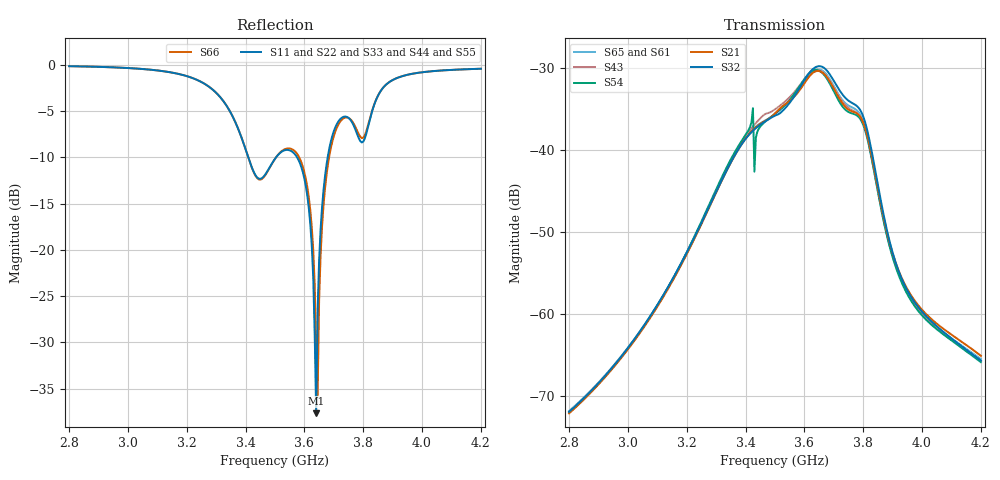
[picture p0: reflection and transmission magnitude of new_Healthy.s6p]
! Touchstone file exported from HFSS 2024.2.0
!  File:  D:/Jatin/new.aedt
!  Generated:  04:49:15 PM Sep 30, 2026
!  Design:  Healthy
!  Project:  new
!  Setup:  Setup1
!  Solution:  Sweep
! Variables:
!  $L = 85mm
!  $W = 35mm
!  H = 1.575mm
!  L = 42mm
!  W = 35mm
!  Wb = 6mm
!  a = 3.5mm
!  ant_dist = 115mm
!  ant_gap = 3mm
!  b = 5mm
!  c = 5mm
!  d = 2mm
!  g1 = 2mm
!  g2 = 2mm
!  g3 = 1mm
!  g4 = 2mm
!  gap = 10mm
!  r1 = 3.5mm
!  r2 = 6mm
!  r_brain = 95mm
!  r_brain_ad = 61.68mm
!  r_csf = 95.5mm
!  r_csf_expanded = 64.6mm
!  r_csf_inner = 61.68mm
!  r_csf_outer = 83.5mm
!  r_fat = 87.5mm
!  r_gray = 70.55mm
!  r_gray_healthy = 83mm
!  r_grey_healthy = 83mm
!  r_hippo_healthy = 25mm
!  r_skin = 88mm
!  r_skull = 86.5mm
!  r_white = 17.5mm
!  r_white_healthy = 76mm
!  slot_distance = 15mm
!  wc = 12mm
!  y1 = 15mm
!  y2 = 5mm
!  y4 = 11mm
!  z_ebg = -94.575mm
! Terminal data exported
! Port[1] = FEED_3_T4
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# GHz S MA R 50.000000
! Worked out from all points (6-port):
!   281 points, 2.8 GHz to 4.2 GHz, reference 50 ohm
!   strongest paths, dB at 2.8 GHz, 3.15 GHz, 3.5 GHz, 3.85 GHz, 4.2 GHz:
!     S32: -71.9, -55.8, -35.8, -44.3, -65.7
!     S21: -72.1, -56.0, -35.5, -44.7, -65.1
!     S54: -72.0, -55.9, -35.6, -45.2, -65.8
!     S43: -71.9, -56.0, -35.0, -44.7, -65.7
!     S65: -71.8, -55.9, -35.5, -45.1, -65.5
!     S61: -71.9, -56.0, -35.9, -44.8, -65.2
!   lowest |S11| = -37.7 dB at 3.64 GHz (marker M1), VSWR 1.03, Z = 49.5 - j1.22 ohm
!   |S11| at or under -10 dB: 3.409 GHz to 3.504 GHz (94.96 MHz wide, 2.75 % of centre); 3.575 GHz to 3.679 GHz (104.3 MHz wide, 2.88 % of centre)
